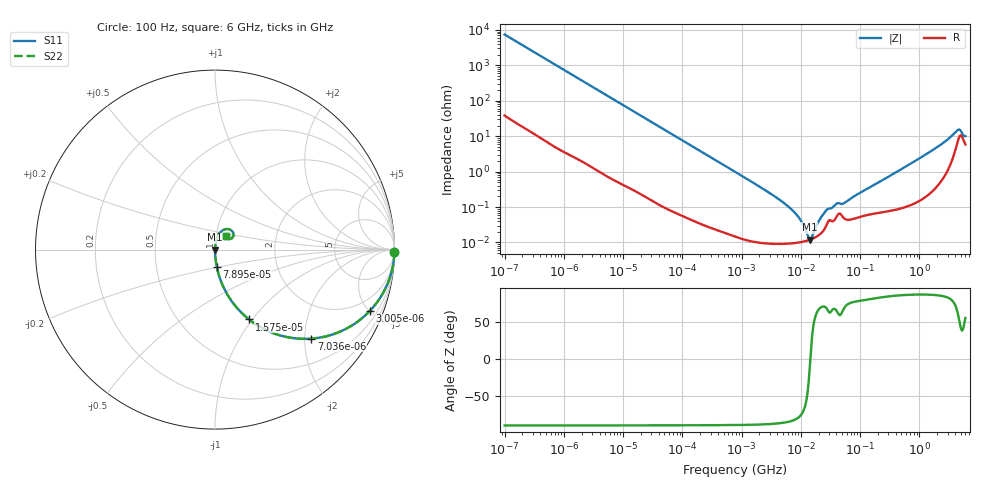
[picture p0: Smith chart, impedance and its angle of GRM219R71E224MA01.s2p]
!Murata Part Number: GRM219R71E224MA01
!These Parameters are Measured in Series Mode Connection
!Data Generated on Mar 30, 2021
!  o--ll--o
!Port1  Port2
!  o------o
!Operation Temp=25[degC], DC Bias Voltage=0[V]
!Freq. Start=100[Hz] Stop=6[GHz] 401[Steps]
# Hz S RI R 50
!Freq.(Hz) S11(Real) S11(Imag) S21(Real) S21(Imag) S12(Real) S12(Imag) S22(Real) S22(Imag)
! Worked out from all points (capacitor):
!   401 points, 100 Hz to 6 GHz, reference 50 ohm
!   read as one part in series: C = 213 nF near 109 Hz
!   lowest |Z| = 12.1 mohm at 14.22 MHz (marker M1)
!   series resonance near 14.48 MHz, so ESL is about 570 pH
!   S11 on the Smith chart (normalised r, x): 100 Hz: open; 3.005 kHz: 1.03, -5.02; 7.036 kHz: 1.01, -2.15; 15.75 kHz: 1.01, -0.96; 78.95 kHz: 1.00, -0.19; 6 GHz: 1.12, +0.17
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100  0.9998 -0.0134  0.000248 0.0134  0.000248 0.0134  0.9998 -0.0134
600  0.9933 -0.0793  0.00671 0.0793  0.00671 0.0793  0.9933 -0.0793
2008  0.9325 -0.2483  0.0675 0.2483  0.0675 0.2483  0.9325 -0.2483
3005  0.8617 -0.3426  0.1383 0.3426  0.1383 0.3426  0.8617 -0.3426
7036  0.5359 -0.4961  0.4641 0.4961  0.4641 0.4961  0.5359 -0.4961
15752  0.1897 -0.3891  0.8103 0.3891  0.8103 0.3891  0.1897 -0.3891
40335  0.0354 -0.1818  0.9646 0.1818  0.9646 0.1818  0.0354 -0.1818
78952  0.0099 -0.0956  0.9901 0.0956  0.9901 0.0956  0.0099 -0.0956
774597  0.000245 -0.00993  0.9998 0.00993  0.9998 0.00993  0.000245 -0.00993
3103719  9.79e-05 -0.00238  0.9999 0.00238  0.9999 0.00238  9.79e-05 -0.00238
6353432  9.41e-05 -0.000985  0.9999 0.000985  0.9999 0.000985  9.41e-05 -0.000985
9506416  0.000101 -0.000465  0.9999 0.000465  0.9999 0.000465  0.000101 -0.000465
1.422411e7  0.00012 -1.92e-05  0.9999 1.92e-05  0.9999 1.92e-05  0.00012 -1.92e-05
1.555665e7  0.000127 7.8e-05  0.9999 -7.8e-05  0.9999 -7.8e-05  0.000127 7.8e-05
2.035112e7  0.000163 0.000383  0.9998 -0.000383  0.9998 -0.000383  0.000163 0.000383
2.784235e7  0.00034 0.000787  0.9997 -0.000787  0.9997 -0.000787  0.00034 0.000787
4.165952e7  0.000595 0.00114  0.9994 -0.00114  0.9994 -0.00114  0.000595 0.00114
5.449875e7  0.000474 0.00122  0.9995 -0.00122  0.9995 -0.00122  0.000474 0.00122
3.124326e8  0.000828 0.0074  0.9992 -0.0074  0.9992 -0.0074  0.000828 0.0074
1.791126e9  0.005 0.043  0.995 -0.043  0.995 -0.043  0.005 0.043
4.385646e9  0.0751 0.1143  0.9249 -0.1143  0.9249 -0.1143  0.0751 0.1143
6e9  0.0611 0.074  0.9389 -0.074  0.9389 -0.074  0.0611 0.074
